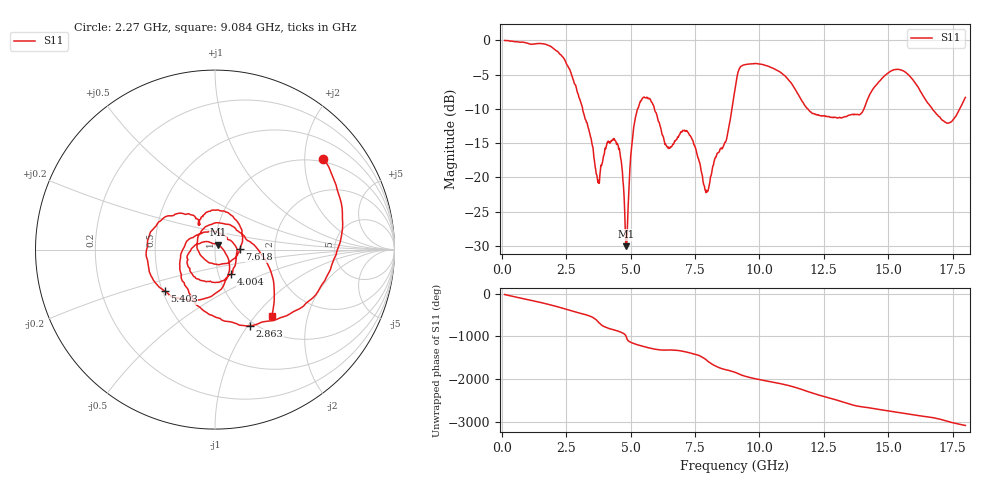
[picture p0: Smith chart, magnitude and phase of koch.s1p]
!Keysight Technologies,N5222B,MY60213399,A.14.00.23
!Date: Monday, June 05, 2023 20:47:32
!Correction: S11(C  1-Port  )
!S1P File: Measurement: :
# Hz S  dB  R 50
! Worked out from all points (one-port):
!   1601 points, 100 MHz to 18 GHz, reference 50 ohm
!   lowest |S11| = -30.0 dB at 4.832 GHz (marker M1), VSWR 1.07, Z = 51.6 + j2.79 ohm
!   |S11| at or under -10 dB: 3.131 GHz to 5.272 GHz (2.141 GHz wide, 51 % of centre); 5.919 GHz to 8.931 GHz (3.012 GHz wide, 40.6 % of centre); 11.88 GHz to 14.06 GHz (2.179 GHz wide, 16.8 % of centre)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
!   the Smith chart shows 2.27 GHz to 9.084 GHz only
!   S11 on the Smith chart (normalised r, x): 2.27 GHz: 0.92, +2.45; 2.863 GHz: 0.94, -1.03; 4.004 GHz: 1.15, -0.32; 5.403 GHz: 0.51, -0.27; 7.618 GHz: 1.32, +0.01; 9.084 GHz: 1.26, -1.22
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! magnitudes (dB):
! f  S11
! 100 MHz  0.0
! 2.27 GHz  -2.1
! 2.337 GHz  -2.3
! 2.863 GHz  -6.6
! 3.702 GHz  -20.1
! 4.004 GHz  -15.7
! 4.329 GHz  -14.4
! 4.575 GHz  -16.3
! 4.832 GHz  -30.0
! 5.09 GHz  -13.5
! 5.403 GHz  -8.8
! 5.806 GHz  -9.0
! 6.41 GHz  -15.5
! 6.812 GHz  -14.2
! 7.215 GHz  -13.4
! 7.618 GHz  -17.2
! 7.987 GHz  -22.0
! 8.726 GHz  -14.4
! 9.05 GHz  -7.1
! 9.084 GHz  -6.2
! 9.844 GHz  -3.4
! 11.29 GHz  -6.5
! 12.08 GHz  -10.7
! 13.53 GHz  -10.9
! 15.04 GHz  -4.6
! 15.76 GHz  -4.9
! 17.25 GHz  -12.0
! 18 GHz  -8.3
